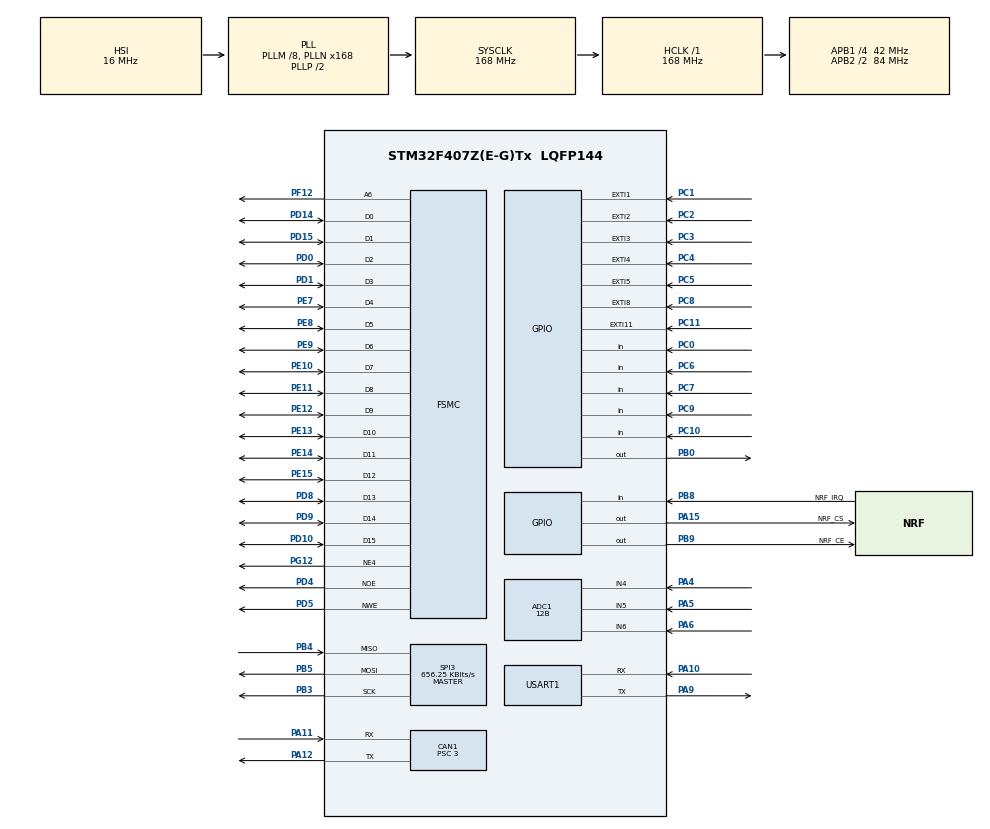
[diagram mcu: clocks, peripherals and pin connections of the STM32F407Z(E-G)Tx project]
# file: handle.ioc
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ADC1.Channel-4\#ChannelRegularConversion=ADC_CHANNEL_5
ADC1.Channel-5\#ChannelRegularConversion=ADC_CHANNEL_6
ADC1.Channel-6\#ChannelRegularConversion=ADC_CHANNEL_4
ADC1.ClockPrescaler=ADC_CLOCK_SYNC_PCLK_DIV4
ADC1.ContinuousConvMode=ENABLE
ADC1.DMAContinuousRequests=ENABLE
ADC1.DataAlign=ADC_DATAALIGN_RIGHT
ADC1.DiscontinuousConvMode=DISABLE
ADC1.EOCSelection=ADC_EOC_SINGLE_CONV
ADC1.EnableAnalogWatchDog=false
ADC1.ExternalTrigConv=ADC_SOFTWARE_START
ADC1.ExternalTrigConvEdge=ADC_EXTERNALTRIGCONVEDGE_NONE
ADC1.InjNumberOfConversion=0
ADC1.NbrOfConversion=3
ADC1.NbrOfConversionFlag=1
ADC1.Rank-4\#ChannelRegularConversion=1
ADC1.Rank-5\#ChannelRegularConversion=2
ADC1.Rank-6\#ChannelRegularConversion=3
ADC1.Resolution=ADC_RESOLUTION_12B
ADC1.SamplingTime-4\#ChannelRegularConversion=ADC_SAMPLETIME_3CYCLES
ADC1.SamplingTime-5\#ChannelRegularConversion=ADC_SAMPLETIME_3CYCLES
ADC1.SamplingTime-6\#ChannelRegularConversion=ADC_SAMPLETIME_3CYCLES
ADC1.ScanConvMode=ENABLE
ADC1.master=1
CAN1.ABOM=DISABLE
CAN1.AWUM=DISABLE
CAN1.BS1=CAN_BS1_9TQ
CAN1.BS2=CAN_BS2_4TQ
CAN1.CalculateTimeQuantum=71.42857142857143
CAN1.Mode=CAN_MODE_NORMAL
CAN1.NART=DISABLE
CAN1.Prescaler=3
CAN1.RFLM=DISABLE
CAN1.TTCM=DISABLE
CAN1.TXFP=DISABLE
Dma.ADC1.0.Direction=DMA_PERIPH_TO_MEMORY
Dma.ADC1.0.FIFOMode=DMA_FIFOMODE_DISABLE
Dma.ADC1.0.Instance=DMA2_Stream0
Dma.ADC1.0.MemDataAlignment=DMA_MDATAALIGN_WORD
Dma.ADC1.0.MemInc=DMA_MINC_ENABLE
Dma.ADC1.0.Mode=DMA_CIRCULAR
Dma.ADC1.0.PeriphDataAlignment=DMA_PDATAALIGN_WORD
Dma.ADC1.0.PeriphInc=DMA_PINC_DISABLE
Dma.ADC1.0.Priority=DMA_PRIORITY_HIGH
Dma.Request0=ADC1
Mcu.Family=STM32F4
Mcu.Name=STM32F407Z(E-G)Tx
Mcu.Package=LQFP144
NVIC.ADC_IRQn=true\:0\:0\:false\:false\:true\:true
NVIC.CAN1_RX0_IRQn=true\:0\:0\:false\:false\:true\:true
NVIC.CAN1_RX1_IRQn=true\:0\:0\:false\:false\:true\:true
NVIC.CAN1_SCE_IRQn=true\:0\:0\:false\:false\:true\:true
NVIC.DMA2_Stream0_IRQn=true\:0\:0\:false\:false\:true\:false
NVIC.EXTI15_10_IRQn=true\:0\:0\:false\:false\:true\:true
NVIC.EXTI1_IRQn=true\:0\:0\:false\:false\:true\:true
NVIC.EXTI2_IRQn=true\:0\:0\:false\:false\:true\:true
NVIC.EXTI3_IRQn=true\:0\:0\:false\:false\:true\:true
NVIC.EXTI4_IRQn=true\:0\:0\:false\:false\:true\:true
NVIC.EXTI9_5_IRQn=true\:0\:0\:false\:false\:true\:true
NVIC.PriorityGroup=NVIC_PRIORITYGROUP_4
PA10.Mode=Asynchronous
PA10.Signal=USART1_RX
PA11.Mode=Master
PA11.Signal=CAN1_RX
PA12.Mode=Master
PA12.Signal=CAN1_TX
PA15.GPIO_Label=NRF_CS
PA15.Signal=GPIO_Output
PA4.Signal=ADCx_IN4
PA5.Signal=ADCx_IN5
PA6.Signal=ADCx_IN6
PA9.Mode=Asynchronous
PA9.Signal=USART1_TX
PB0.Signal=GPIO_Output
PB3.Mode=Full_Duplex_Master
PB3.Signal=SPI3_SCK
PB4.Mode=Full_Duplex_Master
PB4.Signal=SPI3_MISO
PB5.Mode=Full_Duplex_Master
PB5.Signal=SPI3_MOSI
PB8.GPIO_Label=NRF_IRQ
PB8.Signal=GPIO_Input
PB9.GPIO_Label=NRF_CE
PB9.Signal=GPIO_Output
PC0.Signal=GPIO_Input
PC1.GPIO_ModeDefaultEXTI=GPIO_MODE_IT_FALLING
PC1.Signal=GPXTI1
PC10.Signal=GPIO_Input
PC11.GPIO_ModeDefaultEXTI=GPIO_MODE_IT_RISING_FALLING
PC11.Signal=GPXTI11
PC2.GPIO_ModeDefaultEXTI=GPIO_MODE_IT_FALLING
PC2.Signal=GPXTI2
PC3.GPIO_ModeDefaultEXTI=GPIO_MODE_IT_FALLING
PC3.Signal=GPXTI3
PC4.GPIO_ModeDefaultEXTI=GPIO_MODE_IT_FALLING
PC4.Signal=GPXTI4
PC5.GPIO_ModeDefaultEXTI=GPIO_MODE_IT_FALLING
PC5.Signal=GPXTI5
PC6.Signal=GPIO_Input
PC7.Signal=GPIO_Input
PC8.GPIO_ModeDefaultEXTI=GPIO_MODE_IT_FALLING
PC8.Signal=GPXTI8
PC9.Signal=GPIO_Input
PD0.Signal=FSMC_D2_DA2
PD1.Signal=FSMC_D3_DA3
PD10.Signal=FSMC_D15_DA15
PD14.Signal=FSMC_D0_DA0
PD15.Signal=FSMC_D1_DA1
PD4.Signal=FSMC_NOE
PD5.Signal=FSMC_NWE
PD8.Signal=FSMC_D13_DA13
PD9.Signal=FSMC_D14_DA14
PE10.Signal=FSMC_D7_DA7
PE11.Signal=FSMC_D8_DA8
PE12.Signal=FSMC_D9_DA9
PE13.Signal=FSMC_D10_DA10
PE14.Signal=FSMC_D11_DA11
PE15.Signal=FSMC_D12_DA12
PE7.Signal=FSMC_D4_DA4
PE8.Signal=FSMC_D5_DA5
PE9.Signal=FSMC_D6_DA6
PF12.Signal=FSMC_A6
PG12.Mode=NorPsramChipSelect4_1
PG12.Signal=FSMC_NE4
PH0-OSC_IN.Mode=HSE-External-Oscillator
PH0-OSC_IN.Signal=RCC_OSC_IN
PH1-OSC_OUT.Mode=HSE-External-Oscillator
PH1-OSC_OUT.Signal=RCC_OSC_OUT
ProjectManager.HeapSize=0x200
ProjectManager.StackSize=0x400
ProjectManager.TargetToolchain=EWARM
RCC.48MHZClocksFreq_Value=84000000
RCC.AHBFreq_Value=168000000
RCC.APB1CLKDivider=RCC_HCLK_DIV4
RCC.APB1Freq_Value=42000000
RCC.APB1TimFreq_Value=84000000
RCC.APB2CLKDivider=RCC_HCLK_DIV2
RCC.APB2Freq_Value=84000000
RCC.APB2TimFreq_Value=168000000
RCC.CortexFreq_Value=168000000
RCC.HCLKFreq_Value=168000000
RCC.HSE_VALUE=8000000
RCC.HSI_VALUE=16000000
RCC.LSE_VALUE=32768
RCC.PLLM=8
RCC.PLLN=168
RCC.SYSCLKFreq_VALUE=168000000
RCC.SYSCLKSource=RCC_SYSCLKSOURCE_PLLCLK
RCC.VCOOutputFreq_Value=336000000
SH.ADCx_IN4.0=ADC1_IN4,IN4
SH.ADCx_IN5.0=ADC1_IN5,IN5
SH.ADCx_IN6.0=ADC1_IN6,IN6
SH.FSMC_A6.0=FSMC_A6,A6_1
SH.FSMC_D0_DA0.0=FSMC_D0,16b-d1
SH.FSMC_D10_DA10.0=FSMC_D10,16b-d1
SH.FSMC_D11_DA11.0=FSMC_D11,16b-d1
SH.FSMC_D12_DA12.0=FSMC_D12,16b-d1
SH.FSMC_D13_DA13.0=FSMC_D13,16b-d1
SH.FSMC_D14_DA14.0=FSMC_D14,16b-d1
SH.FSMC_D15_DA15.0=FSMC_D15,16b-d1
SH.FSMC_D1_DA1.0=FSMC_D1,16b-d1
SH.FSMC_D2_DA2.0=FSMC_D2,16b-d1
SH.FSMC_D3_DA3.0=FSMC_D3,16b-d1
SH.FSMC_D4_DA4.0=FSMC_D4,16b-d1
SH.FSMC_D5_DA5.0=FSMC_D5,16b-d1
SH.FSMC_D6_DA6.0=FSMC_D6,16b-d1
SH.FSMC_D7_DA7.0=FSMC_D7,16b-d1
SH.FSMC_D8_DA8.0=FSMC_D8,16b-d1
SH.FSMC_D9_DA9.0=FSMC_D9,16b-d1
SH.FSMC_NOE.0=FSMC_NOE,Lcd1
SH.FSMC_NWE.0=FSMC_NWE,Lcd1
SPI3.BaudRatePrescaler=SPI_BAUDRATEPRESCALER_64
SPI3.CalculateBaudRate=656.25 KBits/s
SPI3.Direction=SPI_DIRECTION_2LINES
SPI3.Mode=SPI_MODE_MASTER
SPI3.VirtualType=VM_MASTER
USART1.VirtualMode=VM_ASYNC
board=custom

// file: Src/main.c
/**
  ******************************************************************************
  * @file           : main.c
  * @brief          : Main program body
  ******************************************************************************
  ** This notice applies to any and all portions of this file
  * that are not between comment pairs USER CODE BEGIN and
  * USER CODE END. Other portions of this file, whether
  * inserted by the user or by software development tools
  * are owned by their respective copyright owners.
  *
  * COPYRIGHT(c) 2018 STMicroelectronics
  *
  * Redistribution and use in source and binary forms, with or without modification,
  * are permitted provided that the following conditions are met:
  *   1. Redistributions of source code must retain the above copyright notice,
  *      this list of conditions and the following disclaimer.
  *   2. Redistributions in binary form must reproduce the above copyright notice,
  *      this list of conditions and the following disclaimer in the documentation
  *      and/or other materials provided with the distribution.
  *   3. Neither the name of STMicroelectronics nor the names of its contributors
  *      may be used to endorse or promote products derived from this software
  *      without specific prior written permission.
  *
  * THIS SOFTWARE IS PROVIDED BY THE COPYRIGHT HOLDERS AND CONTRIBUTORS "AS IS"
  * AND ANY EXPRESS OR IMPLIED WARRANTIES, INCLUDING, BUT NOT LIMITED TO, THE
  * IMPLIED WARRANTIES OF MERCHANTABILITY AND FITNESS FOR A PARTICULAR PURPOSE ARE
  * DISCLAIMED. IN NO EVENT SHALL THE COPYRIGHT HOLDER OR CONTRIBUTORS BE LIABLE
  * FOR ANY DIRECT, INDIRECT, INCIDENTAL, SPECIAL, EXEMPLARY, OR CONSEQUENTIAL
  * DAMAGES (INCLUDING, BUT NOT LIMITED TO, PROCUREMENT OF SUBSTITUTE GOODS OR
  * SERVICES; LOSS OF USE, DATA, OR PROFITS; OR BUSINESS INTERRUPTION) HOWEVER
  * CAUSED AND ON ANY THEORY OF LIABILITY, WHETHER IN CONTRACT, STRICT LIABILITY,
  * OR TORT (INCLUDING NEGLIGENCE OR OTHERWISE) ARISING IN ANY WAY OUT OF THE USE
  * OF THIS SOFTWARE, EVEN IF ADVISED OF THE POSSIBILITY OF SUCH DAMAGE.
  *
  ******************************************************************************
  */
#include "main.h"
#include "stm32f4xx_hal.h"
#include "adc.h"
#include "can.h"
#include "dma.h"
#include "spi.h"
#include "usart.h"
#include "gpio.h"
#include "fsmc.h"

/* USER CODE BEGIN Includes */
#include <assert.h>
#include "nrf24l01.h"
#include "lcd.h"
#include "led.h"
#include "can_func.h"
#include "lcd_func.h"
#include "adc_func.h"
#include "breath_led.h"
/* USER CODE END Includes */

/* USER CODE BEGIN PV */
/* Private variables ---------------------------------------------------------*/

/* USER CODE END PV */

void SystemClock_Config(void);

/* USER CODE BEGIN PFP */
/* Private function prototypes -----------------------------------------------*/

/* USER CODE END PFP */

/* USER CODE BEGIN 0 */
int main_flag = 0;

//NRF_Dev NRF24l01;
/* USER CODE END 0 */

int main(void)
{

  /* MCU Configuration----------------------------------------------------------*/

  /* Reset of all peripherals, Initializes the Flash interface and the Systick. */
  HAL_Init();

  /* Configure the system clock */
  SystemClock_Config();

  /* Initialize all configured peripherals */
  MX_GPIO_Init();
  MX_DMA_Init();
  MX_USART1_UART_Init();
  MX_CAN1_Init();
  MX_ADC1_Init();
  MX_SPI3_Init();
  /* USER CODE BEGIN 2 */
  can_init();
  //NRF_Init(&NRF24l01);
  LED_Init();
  LCD_Init();
  lcd_robot_init_func();
  HAL_ADC_Start_DMA(&hadc1, (uint32_t*)&ADC_Value, 150);
  can_func_init();
  main_flag = 1;
  lcd_show_exc_func();
  uprintf("start...\r\n");
  /* USER CODE END 2 */

  /* Infinite loop */
  while (1)
  {

  /* USER CODE BEGIN 3 */
      adc_exe();
      gpio_delayed_button();
  }
  /* USER CODE END 3 */

}

void SystemClock_Config(void)
{

  RCC_OscInitTypeDef RCC_OscInitStruct;
  RCC_ClkInitTypeDef RCC_ClkInitStruct;

    /**Configure the main internal regulator output voltage
    */
  __HAL_RCC_PWR_CLK_ENABLE();

  __HAL_PWR_VOLTAGESCALING_CONFIG(PWR_REGULATOR_VOLTAGE_SCALE1);

    /**Initializes the CPU, AHB and APB busses clocks
    */
  RCC_OscInitStruct.OscillatorType = RCC_OSCILLATORTYPE_HSI;
  RCC_OscInitStruct.HSIState = RCC_HSI_ON;
  RCC_OscInitStruct.HSICalibrationValue = 16;
  RCC_OscInitStruct.PLL.PLLState = RCC_PLL_ON;
  RCC_OscInitStruct.PLL.PLLSource = RCC_PLLSOURCE_HSI;
  RCC_OscInitStruct.PLL.PLLM = 8;
  RCC_OscInitStruct.PLL.PLLN = 168;
  RCC_OscInitStruct.PLL.PLLP = RCC_PLLP_DIV2;
  RCC_OscInitStruct.PLL.PLLQ = 4;
  if (HAL_RCC_OscConfig(&RCC_OscInitStruct) != HAL_OK)
  {
    _Error_Handler(__FILE__, __LINE__);
  }

    /**Initializes the CPU, AHB and APB busses clocks
    */
  RCC_ClkInitStruct.ClockType = RCC_CLOCKTYPE_HCLK|RCC_CLOCKTYPE_SYSCLK
                              |RCC_CLOCKTYPE_PCLK1|RCC_CLOCKTYPE_PCLK2;
  RCC_ClkInitStruct.SYSCLKSource = RCC_SYSCLKSOURCE_PLLCLK;
  RCC_ClkInitStruct.AHBCLKDivider = RCC_SYSCLK_DIV1;
  RCC_ClkInitStruct.APB1CLKDivider = RCC_HCLK_DIV4;
  RCC_ClkInitStruct.APB2CLKDivider = RCC_HCLK_DIV2;

  if (HAL_RCC_ClockConfig(&RCC_ClkInitStruct, FLASH_LATENCY_5) != HAL_OK)
  {
    _Error_Handler(__FILE__, __LINE__);
  }

    /**Configure the Systick interrupt time
    */
  HAL_SYSTICK_Config(HAL_RCC_GetHCLKFreq()/1000);

    /**Configure the Systick
    */
  HAL_SYSTICK_CLKSourceConfig(SYSTICK_CLKSOURCE_HCLK);

  /* SysTick_IRQn interrupt configuration */
  HAL_NVIC_SetPriority(SysTick_IRQn, 0, 0);
}

/* USER CODE BEGIN 4 */
void HAL_SYSTICK_Callback(void){
    static int time_1ms_cnt = 0;
    if(main_flag == 1)
    {
        time_1ms_cnt++;

        if(time_1ms_cnt % 50 == 0)
        {
            adc_flag = 1;
        }

        if(time_1ms_cnt % 50 == 0)
        {
            can_rx_show_lcd();
        }
        if(time_1ms_cnt%5000==0)
        {
          //LCD_Clear(WHITE);
          //lcd_show_exc_func();

        }

        if(time_1ms_cnt >= 65530)
        {
            time_1ms_cnt = 0;
        }
    }
}
/* USER CODE END 4 */

void _Error_Handler(char *file, int line)
{
  while(1)
  {
  }
}

/************************ (C) COPYRIGHT STMicroelectronics *****END OF FILE****/
